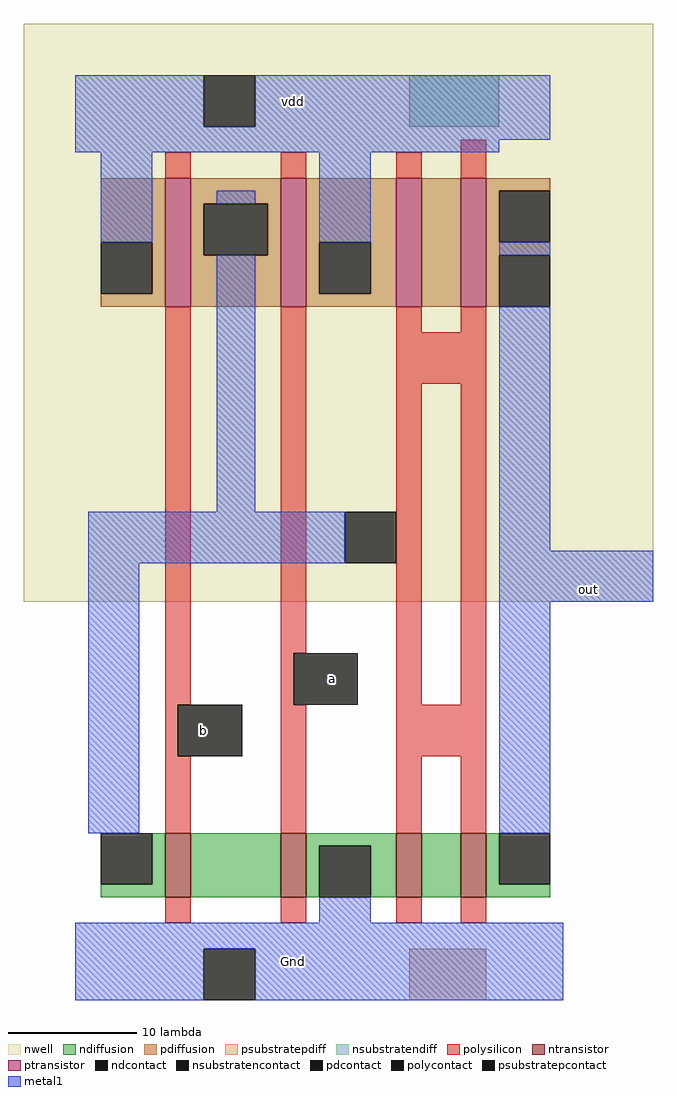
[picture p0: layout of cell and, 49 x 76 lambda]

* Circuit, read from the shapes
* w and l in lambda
.subckt and Gnd a b out vdd
M1 n1 b n2 Gnd nfet w=5 l=2
M2 Gnd a n1 Gnd nfet w=5 l=2
M3 n3 n2 Gnd Gnd nfet w=5 l=2
M4 out n2 n3 Gnd nfet w=5 l=2
M5 n2 b vdd vdd pfet w=10 l=2
M6 vdd a n2 vdd pfet w=10 l=2
M7 n4 n2 vdd vdd pfet w=10 l=2
M8 out n2 n4 vdd pfet w=10 l=2
.ends

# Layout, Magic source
magic
tech min2
<< nwell >>
rect -23 24 26 69
<< ntransistor >>
rect -12 1 -10 6
rect -3 1 -1 6
rect 6 1 8 6
rect 11 1 13 6
<< ptransistor >>
rect -12 47 -10 57
rect -3 47 -1 57
rect 6 47 8 57
rect 11 47 13 57
<< ndiffusion >>
rect -13 2 -12 6
rect -17 1 -12 2
rect -10 1 -3 6
rect -1 5 6 6
rect -1 1 0 5
rect 4 1 6 5
rect 8 1 11 6
rect 13 2 14 6
rect 13 1 18 2
<< pdiffusion >>
rect -17 52 -12 57
rect -13 48 -12 52
rect -17 47 -12 48
rect -10 55 -3 57
rect -10 51 -9 55
rect -4 51 -3 55
rect -10 47 -3 51
rect -1 52 6 57
rect -1 48 0 52
rect 4 48 6 52
rect -1 47 6 48
rect 8 47 11 57
rect 13 56 18 57
rect 13 52 14 56
rect 13 51 18 52
rect 13 47 14 51
<< ndcontact >>
rect -17 2 -13 6
rect 0 1 4 5
rect 14 2 18 6
<< pdcontact >>
rect -17 48 -13 52
rect -9 51 -4 55
rect 0 48 4 52
rect 14 52 18 56
rect 14 47 18 51
<< psubstratepdiff >>
rect 7 -7 13 -3
<< nsubstratendiff >>
rect 7 61 14 65
<< psubstratepcontact >>
rect -9 -7 -5 -3
<< nsubstratencontact >>
rect -9 61 -5 65
<< polysilicon >>
rect -12 57 -10 59
rect -3 57 -1 59
rect 6 57 8 59
rect 11 57 13 60
rect -12 16 -10 47
rect -3 20 -1 47
rect 6 45 8 47
rect 11 45 13 47
rect 6 41 13 45
rect -3 16 -2 20
rect 6 16 8 41
rect 11 16 13 41
rect -12 12 -11 16
rect -12 6 -10 12
rect -3 6 -1 16
rect 6 12 13 16
rect 6 6 8 12
rect 11 6 13 12
rect -12 -1 -10 1
rect -3 -1 -1 1
rect 6 -1 8 1
rect 11 -1 13 1
<< polycontact >>
rect 2 27 6 31
rect -2 16 3 20
rect -11 12 -6 16
<< metal1 >>
rect -19 61 -9 65
rect -5 61 18 65
rect -19 60 18 61
rect -19 59 14 60
rect -17 52 -13 59
rect -8 55 -5 56
rect 0 52 4 59
rect -8 31 -5 51
rect 14 51 18 52
rect -18 27 2 31
rect 14 28 18 47
rect -18 6 -14 27
rect 14 24 26 28
rect 14 6 18 24
rect 0 -1 4 1
rect -19 -3 19 -1
rect -19 -7 -9 -3
rect -5 -7 19 -3
<< labels >>
rlabel metal1 -2 -4 -2 -4 1 Gnd
rlabel metal1 -2 63 -2 63 5 vdd
rlabel polycontact -9 14 -9 14 1 b
rlabel polycontact 1 18 1 18 1 a
rlabel metal1 21 25 21 25 7 out
<< end >>
